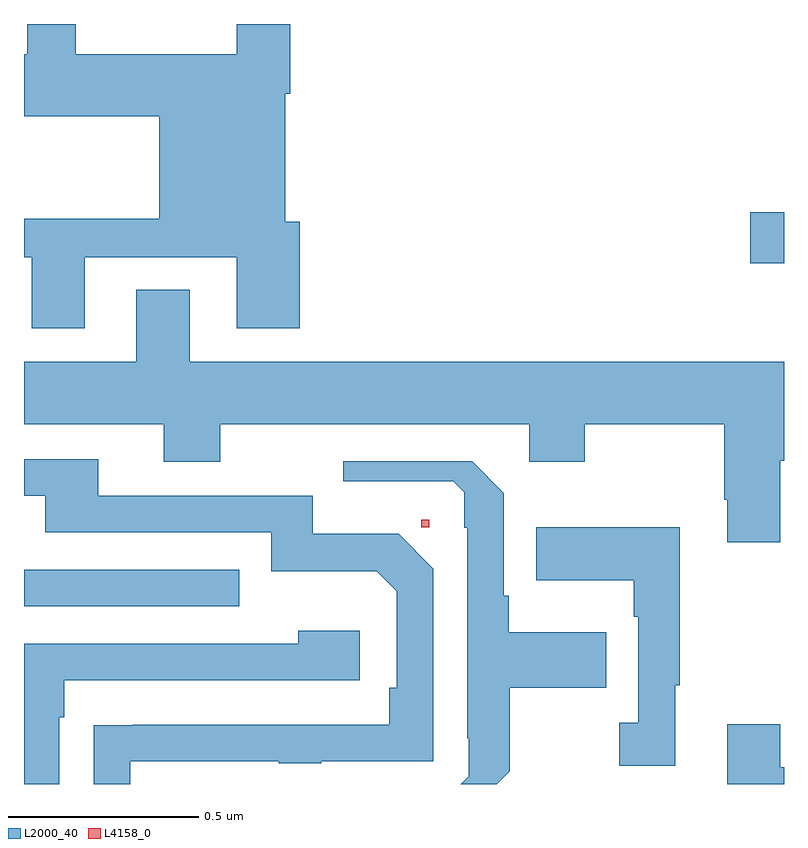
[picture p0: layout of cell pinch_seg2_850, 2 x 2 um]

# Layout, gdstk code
import gdstk
lib = gdstk.Library(unit=1e-6, precision=1e-09)
def R(c, l, rs):  # rectangles x0, y0, x1, y1
    for r in rs: c.add(gdstk.rectangle(r[:2], r[2:], *l))
def P(c, l, *ps):  # polygons
    for p in ps: c.add(gdstk.Polygon(p, *l))
L2000_40 = (2000, 40)
L4158_0 = (4158, 0)

pinch_seg2_850 = lib.new_cell('pinch_seg2_850')
R(pinch_seg2_850, L2000_40, [(733.077,624.513,733.643,624.609), (734.988,625.415,735.077,625.55)])
P(pinch_seg2_850, L2000_40, [(733.237,625.431),(733.637,625.431),(733.637,625.245),(733.802,625.245),(733.802,625.524),(733.765,625.524),(733.765,625.862),(733.778,625.862),(733.778,626.045),(733.637,626.045),(733.637,625.966),(733.213,625.966),(733.213,626.045),(733.085,626.045),(733.085,625.966),(733.077,625.966),(733.077,625.802),(733.433,625.802),(733.433,625.532),(733.077,625.532),(733.077,625.431),(733.097,625.431),(733.097,625.245),(733.237,625.245)],
  [(735.067,624.896),(735.077,624.896),(735.077,625.156),(733.513,625.156),(733.513,625.346),(733.373,625.346),(733.373,625.156),(733.077,625.156),(733.077,624.992),(733.445,624.992),(733.445,624.893),(733.593,624.893),(733.593,624.992),(734.406,624.992),(734.406,624.893),(734.553,624.893),(734.553,624.992),(734.92,624.992),(734.92,624.793),(734.927,624.793),(734.927,624.681),(735.067,624.681)],
  [(733.357,624.105),(733.747,624.105),(733.747,624.1),(733.859,624.1),(733.859,624.105),(734.154,624.105),(734.154,624.612),(734.063,624.703),(733.837,624.703),(733.837,624.804),(733.273,624.804),(733.273,624.9),(733.077,624.9),(733.077,624.804),(733.133,624.804),(733.133,624.708),(733.728,624.708),(733.728,624.605),(734.005,624.605),(734.058,624.552),(734.058,624.298),(734.038,624.298),(734.038,624.201),(733.363,624.201),(733.363,624.2),(733.261,624.2),(733.261,624.045),(733.357,624.045)],
  [(734.355,624.079),(734.355,624.298),(734.609,624.298),(734.609,624.445),(734.353,624.445),(734.353,624.541),(734.34,624.541),(734.34,624.81),(734.256,624.894),(733.917,624.894),(733.917,624.842),(734.206,624.842),(734.236,624.813),(734.236,624.72),(734.244,624.72),(734.244,624.166),(734.247,624.166),(734.247,624.066),(734.226,624.045),(734.321,624.045)],
  [(734.791,624.305),(734.803,624.305),(734.803,624.721),(734.425,624.721),(734.425,624.581),(734.682,624.581),(734.682,624.485),(734.694,624.485),(734.694,624.206),(734.643,624.206),(734.643,624.093),(734.791,624.093)],
  [(733.17,624.221),(733.183,624.221),(733.183,624.318),(733.96,624.318),(733.96,624.448),(733.799,624.448),(733.799,624.414),(733.077,624.414),(733.077,624.045),(733.17,624.045)],
  [(735.077,624.089),(735.067,624.089),(735.067,624.202),(734.927,624.202),(734.927,624.045),(735.077,624.045)])
R(pinch_seg2_850, L4158_0, [(734.123,624.721,734.143,624.741)])

lib.write_gds('pinch_seg2_850.gds')
